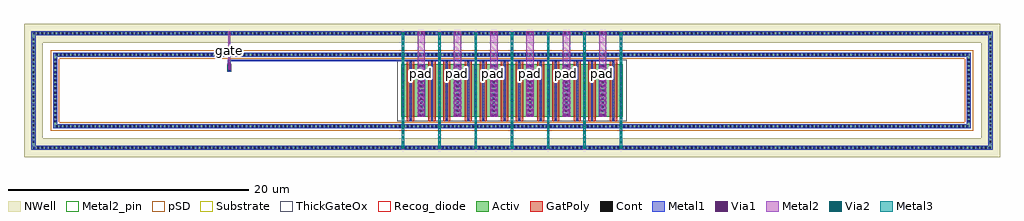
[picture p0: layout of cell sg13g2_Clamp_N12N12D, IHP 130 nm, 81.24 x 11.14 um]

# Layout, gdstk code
import gdstk
lib = gdstk.Library(unit=1e-6, precision=1e-09)
def R(c, l, rs):  # rectangles x0, y0, x1, y1
    for r in rs: c.add(gdstk.rectangle(r[:2], r[2:], *l))
def A(c, l, x, y, w, h, nx, ny, dx, dy):  # array of equal rectangles
    R(c, l, [(x+i*dx, y+j*dy, x+i*dx+w, y+j*dy+h) for i in range(nx) for j in range(ny)])
def P(c, l, *ps):  # polygons
    for p in ps: c.add(gdstk.Polygon(p, *l))
Activ = (1, 0)
GatPoly = (5, 0)
Cont = (6, 0)
Metal1 = (8, 0)
Metal2 = (10, 0)
Metal2_pin = (10, 2)
pSD = (14, 0)
Via1 = (19, 0)
Via2 = (29, 0)
Metal3 = (30, 0)
NWell = (31, 0)
Substrate = (40, 0)
ThickGateOx = (44, 0)
Recog_diode = (99, 31)

sg13g2_guardring_n16000w = lib.new_cell('sg13g2_GuardRing_N16000W1980HFF')
P(sg13g2_guardring_n16000w, Activ, [(-40,-4.95),(-40,4.61),(-39.66,4.61),(-39.66,-4.61),(39.66,-4.61),(39.66,4.61),(-40,4.61),(-40,4.95),(40,4.95),(40,-4.95)])
A(sg13g2_guardring_n16000w, Cont, -39.86, -4.86, 0.16, 0.16, 235, 2, 0.34, 9.56)
A(sg13g2_guardring_n16000w, Cont, -39.91, -4.33, 0.16, 0.16, 1, 26, 0, 0.34)
A(sg13g2_guardring_n16000w, Cont, 39.75, -4.33, 0.16, 0.16, 1, 26, 0, 0.34)
P(sg13g2_guardring_n16000w, Metal1, [(-40,-4.95),(-40,4.61),(-39.66,4.61),(-39.66,-4.61),(39.66,-4.61),(39.66,4.61),(-40,4.61),(-40,4.95),(40,4.95),(40,-4.95)])
P(sg13g2_guardring_n16000w, NWell, [(-40.62,-5.57),(-40.62,3.99),(-39.04,3.99),(-39.04,-3.99),(39.04,-3.99),(39.04,3.99),(-40.62,3.99),(-40.62,5.57),(40.62,5.57),(40.62,-5.57)])

sg13g2_guardring_p15280w = lib.new_cell('sg13g2_GuardRing_P15280W1260HFF')
P(sg13g2_guardring_p15280w, Activ, [(-38.2,-3.15),(-38.2,2.81),(-37.86,2.81),(-37.86,-2.81),(37.86,-2.81),(37.86,2.81),(-38.2,2.81),(-38.2,3.15),(38.2,3.15),(38.2,-3.15)])
A(sg13g2_guardring_p15280w, Cont, -37.99, -3.06, 0.16, 0.16, 224, 2, 0.34, 5.96)
A(sg13g2_guardring_p15280w, Cont, -38.11, -2.63, 0.16, 0.16, 1, 16, 0, 0.34)
A(sg13g2_guardring_p15280w, Cont, 37.95, -2.63, 0.16, 0.16, 1, 16, 0, 0.34)
P(sg13g2_guardring_p15280w, Metal1, [(-38.2,-3.15),(-38.2,2.81),(-37.86,2.81),(-37.86,-2.81),(37.86,-2.81),(37.86,2.81),(-38.2,2.81),(-38.2,3.15),(38.2,3.15),(38.2,-3.15)])
P(sg13g2_guardring_p15280w, pSD, [(-38.38,-3.33),(-38.38,2.63),(-37.68,2.63),(-37.68,-2.63),(37.68,-2.63),(37.68,2.63),(-38.38,2.63),(-38.38,3.33),(38.38,3.33),(38.38,-3.33)])
P(sg13g2_guardring_p15280w, Substrate, [(-38.2,-3.15),(-38.2,2.81),(-37.86,2.81),(-37.86,-2.81),(37.86,-2.81),(37.86,2.81),(-38.2,2.81),(-38.2,3.15),(38.2,3.15),(38.2,-3.15)])
sg13g2_guardring_p15280w.add(gdstk.Label('sub!', (-38.03,-2.98), layer=63, texttype=0))

sg13g2_clamp_n12n12d = lib.new_cell('sg13g2_Clamp_N12N12D')
R(sg13g2_clamp_n12n12d, Activ, [(30.79,2.75,49.21,7.15), (16.315,6.51,16.615,7.15)])
R(sg13g2_clamp_n12n12d, GatPoly, [(31.26,2.38,31.86,7.52), (33.04,2.38,33.64,7.52), (34.28,2.38,34.88,7.52), (36.06,2.38,36.66,7.52), (37.3,2.38,37.9,7.52), (39.08,2.38,39.68,7.52), (40.32,2.38,40.92,7.52), (42.1,2.38,42.7,7.52), (43.34,2.38,43.94,7.52), (45.12,2.38,45.72,7.52), (46.36,2.38,46.96,7.52), (48.14,2.38,48.74,7.52)])
A(sg13g2_clamp_n12n12d, Cont, 30.86, 2.83, 0.16, 0.16, 13, 13, 1.51, 0.34)
R(sg13g2_clamp_n12n12d, Cont, [(31.48,2.45,31.64,2.61), (33.26,2.45,33.42,2.61), (34.5,2.45,34.66,2.61), (36.28,2.45,36.44,2.61), (37.52,2.45,37.68,2.61), (39.3,2.45,39.46,2.61), (40.54,2.45,40.7,2.61), (42.32,2.45,42.48,2.61), (43.56,2.45,43.72,2.61), (45.34,2.45,45.5,2.61), (46.58,2.45,46.74,2.61), (48.36,2.45,48.52,2.61), (16.385,6.58,16.545,6.74), (16.385,6.92,16.545,7.08), (31.48,7.29,31.64,7.45), (33.26,7.29,33.42,7.45), (34.5,7.29,34.66,7.45), (36.28,7.29,36.44,7.45), (37.52,7.29,37.68,7.45), (39.3,7.29,39.46,7.45), (40.54,7.29,40.7,7.45), (42.32,7.29,42.48,7.45), (43.56,7.29,43.72,7.45), (45.34,7.29,45.5,7.45), (46.58,7.29,46.74,7.45), (48.36,7.29,48.52,7.45)])
A(sg13g2_clamp_n12n12d, Metal1, 30.835, 1.8, 0.21, 0.34, 7, 2, 3.02, 5.96)
A(sg13g2_clamp_n12n12d, Metal1, 30.835, 2.75, 0.21, 4.4, 7, 1, 3.02, 0)
A(sg13g2_clamp_n12n12d, Metal1, 32.14, 2.75, 0.62, 4.4, 6, 1, 3.02, 0)
P(sg13g2_clamp_n12n12d, Metal1, [(31.48,2.37),(31.48,7.37),(16.57,7.37),(16.57,6.5),(16.36,6.5),(16.36,7.53),(48.52,7.53),(48.52,2.37),(48.36,2.37),(48.36,7.37),(46.74,7.37),(46.74,2.37),(46.58,2.37),(46.58,7.37),(45.5,7.37),(45.5,2.37),(45.34,2.37),(45.34,7.37),(43.72,7.37),(43.72,2.37),(43.56,2.37),(43.56,7.37),(42.48,7.37),(42.48,2.37),(42.32,2.37),(42.32,7.37),(40.7,7.37),(40.7,2.37),(40.54,2.37),(40.54,7.37),(39.46,7.37),(39.46,2.37),(39.3,2.37),(39.3,7.37),(37.68,7.37),(37.68,2.37),(37.52,2.37),(37.52,7.37),(36.44,7.37),(36.44,2.37),(36.28,2.37),(36.28,7.37),(34.66,7.37),(34.66,2.37),(34.5,2.37),(34.5,7.37),(33.42,7.37),(33.42,2.37),(33.26,2.37),(33.26,7.37),(31.64,7.37),(31.64,2.37)])
A(sg13g2_clamp_n12n12d, Metal2, 30.84, 0, 0.2, 9.9, 7, 1, 3.02, 0)
A(sg13g2_clamp_n12n12d, Metal2, 32.145, 2.755, 0.61, 7.145, 6, 1, 3.02, 0)
R(sg13g2_clamp_n12n12d, Metal2, [(16.365,6.665,16.565,9.9)])
A(sg13g2_clamp_n12n12d, Metal2_pin, 32.145, 2.755, 0.61, 7.145, 6, 1, 3.02, 0)
R(sg13g2_clamp_n12n12d, Metal2_pin, [(16.365,6.665,16.565,9.9)])
A(sg13g2_clamp_n12n12d, Via1, 30.845, 1.875, 0.19, 0.19, 7, 2, 3.02, 5.96)
A(sg13g2_clamp_n12n12d, Via1, 30.845, 2.805, 0.19, 0.19, 1, 11, 0, 0.41)
A(sg13g2_clamp_n12n12d, Via1, 32.15, 2.805, 0.19, 0.19, 1, 11, 0, 0.41)
A(sg13g2_clamp_n12n12d, Via1, 32.56, 2.805, 0.19, 0.19, 3, 11, 1.305, 0.41)
A(sg13g2_clamp_n12n12d, Via1, 35.58, 2.805, 0.19, 0.19, 3, 11, 1.305, 0.41)
A(sg13g2_clamp_n12n12d, Via1, 38.6, 2.805, 0.19, 0.19, 3, 11, 1.305, 0.41)
A(sg13g2_clamp_n12n12d, Via1, 41.62, 2.805, 0.19, 0.19, 3, 11, 1.305, 0.41)
A(sg13g2_clamp_n12n12d, Via1, 44.64, 2.805, 0.19, 0.19, 3, 11, 1.305, 0.41)
A(sg13g2_clamp_n12n12d, Via1, 47.66, 2.805, 0.19, 0.19, 1, 11, 0, 0.41)
A(sg13g2_clamp_n12n12d, Via1, 48.965, 2.805, 0.19, 0.19, 1, 11, 0, 0.41)
R(sg13g2_clamp_n12n12d, Via1, [(16.37,6.715,16.56,6.905), (16.37,7.125,16.56,7.315)])
A(sg13g2_clamp_n12n12d, Via2, 30.845, 0.14, 0.19, 0.19, 7, 24, 3.02, 0.41)
A(sg13g2_clamp_n12n12d, Metal3, 30.84, 0.09, 0.2, 9.72, 7, 1, 3.02, 0)
R(sg13g2_clamp_n12n12d, ThickGateOx, [(30.45,2.41,49.55,7.49)])
R(sg13g2_clamp_n12n12d, Recog_diode, [(16.295,6.49,16.635,7.17)])
sg13g2_clamp_n12n12d.add(gdstk.Reference(sg13g2_guardring_n16000w, (40,4.95)))
sg13g2_clamp_n12n12d.add(gdstk.Reference(sg13g2_guardring_p15280w, (40,4.95)))
sg13g2_clamp_n12n12d.add(gdstk.Label('pad', (41.51,6.328), layer=10, texttype=25))
sg13g2_clamp_n12n12d.add(gdstk.Label('pad', (47.55,6.328), layer=10, texttype=25))
sg13g2_clamp_n12n12d.add(gdstk.Label('pad', (35.47,6.328), layer=10, texttype=25))
sg13g2_clamp_n12n12d.add(gdstk.Label('pad', (38.49,6.328), layer=10, texttype=25))
sg13g2_clamp_n12n12d.add(gdstk.Label('pad', (44.53,6.328), layer=10, texttype=25))
sg13g2_clamp_n12n12d.add(gdstk.Label('pad', (32.45,6.328), layer=10, texttype=25))
sg13g2_clamp_n12n12d.add(gdstk.Label('gate', (16.465,8.282), layer=10, texttype=25))

lib.write_gds('sg13g2_Clamp_N12N12D.gds')
